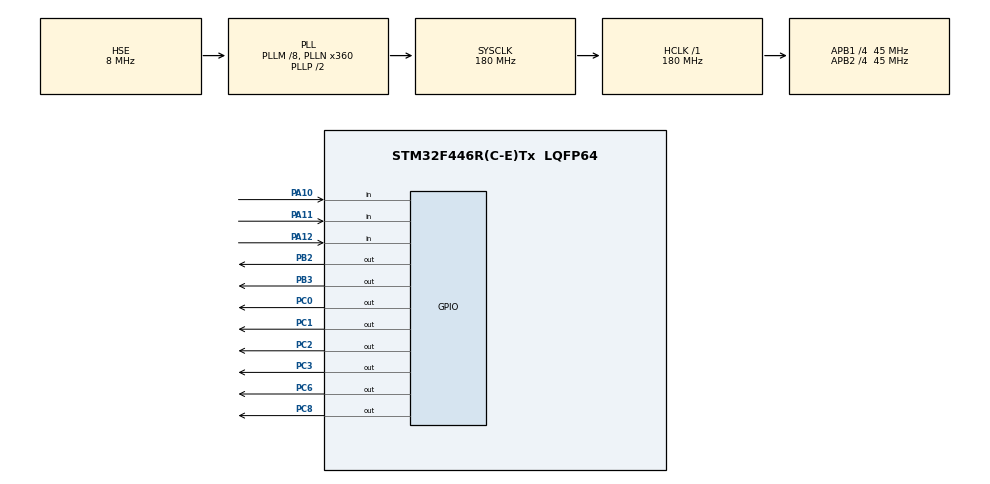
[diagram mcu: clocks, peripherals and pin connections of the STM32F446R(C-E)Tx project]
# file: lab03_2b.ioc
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FREERTOS.Tasks01=runningLED,24,128,runningLEDThread,Default,NULL,Dynamic,NULL,NULL;keypad,8,128,keypadThread,Default,NULL,Dynamic,NULL,NULL
FREERTOS.configUSE_NEWLIB_REENTRANT=1
Mcu.Family=STM32F4
Mcu.Name=STM32F446R(C-E)Tx
Mcu.Package=LQFP64
NVIC.PriorityGroup=NVIC_PRIORITYGROUP_4
NVIC.TIM7_IRQn=true\:15\:0\:false\:false\:true\:false\:false\:true\:true
NVIC.TimeBase=TIM7_IRQn
NVIC.TimeBaseIP=TIM7
PA10.GPIO_PuPd=GPIO_PULLUP
PA10.Signal=GPIO_Input
PA11.GPIO_PuPd=GPIO_PULLUP
PA11.Signal=GPIO_Input
PA12.GPIO_PuPd=GPIO_PULLUP
PA12.Signal=GPIO_Input
PA13.Mode=Serial_Wire
PA13.Signal=SYS_JTMS-SWDIO
PA14.Mode=Serial_Wire
PA14.Signal=SYS_JTCK-SWCLK
PB2.Signal=GPIO_Output
PB3.Signal=GPIO_Output
PC0.Signal=GPIO_Output
PC1.Signal=GPIO_Output
PC2.Signal=GPIO_Output
PC3.Signal=GPIO_Output
PC6.Signal=GPIO_Output
PC8.Signal=GPIO_Output
PH0-OSC_IN.Mode=HSE-External-Oscillator
PH0-OSC_IN.Signal=RCC_OSC_IN
PH1-OSC_OUT.Mode=HSE-External-Oscillator
PH1-OSC_OUT.Signal=RCC_OSC_OUT
ProjectManager.HeapSize=0x200
ProjectManager.StackSize=0x400
ProjectManager.TargetToolchain=STM32CubeIDE
RCC.AHBFreq_Value=180000000
RCC.APB1CLKDivider=RCC_HCLK_DIV4
RCC.APB1Freq_Value=45000000
RCC.APB1TimFreq_Value=90000000
RCC.APB2CLKDivider=RCC_HCLK_DIV4
RCC.APB2Freq_Value=45000000
RCC.APB2TimFreq_Value=90000000
RCC.CortexFreq_Value=180000000
RCC.HCLKFreq_Value=180000000
RCC.HSE_VALUE=8000000
RCC.PLLM=8
RCC.PLLN=360
RCC.PLLSourceVirtual=RCC_PLLSOURCE_HSE
RCC.SYSCLKFreq_VALUE=180000000
RCC.SYSCLKSource=RCC_SYSCLKSOURCE_PLLCLK
RCC.USBFreq_Value=180000000
RCC.VCOOutputFreq_Value=360000000
VP_FREERTOS_VS_CMSIS_V2.Mode=CMSIS_V2
VP_SYS_VS_tim7.Mode=TIM7
board=custom

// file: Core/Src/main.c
/* USER CODE BEGIN Header */
/**
  ******************************************************************************
  * @file           : main.c
  * @brief          : Main program body
  ******************************************************************************
  * @attention
  *
  * Copyright (c) 2026 STMicroelectronics.
  * All rights reserved.
  *
  * This software is licensed under terms that can be found in the LICENSE file
  * in the root directory of this software component.
  * If no LICENSE file comes with this software, it is provided AS-IS.
  *
  ******************************************************************************
  */
/* USER CODE END Header */
#include "main.h"
#include "cmsis_os.h"

/* Definitions for runningLED */
osThreadId_t runningLEDHandle;
const osThreadAttr_t runningLED_attributes = {
  .name = "runningLED",
  .stack_size = 128 * 4,
  .priority = (osPriority_t) osPriorityNormal,
};
/* Definitions for keypad */
osThreadId_t keypadHandle;
const osThreadAttr_t keypad_attributes = {
  .name = "keypad",
  .stack_size = 128 * 4,
  .priority = (osPriority_t) osPriorityLow,
};
/* USER CODE BEGIN PV */
GPIO_TypeDef *ledPort[4] = {GPIOB,GPIOC,GPIOC,GPIOB};
int ledGPIO[4] = {GPIO_PIN_2,GPIO_PIN_6,GPIO_PIN_8,GPIO_PIN_3};
int runningSpeed = 5;
int pattern[4][4] = {{1,0,0,0},{0,1,0,0},{0,0,1,0},{0,0,0,1}};

// Keypad
int keyColumn[3] = {GPIO_PIN_10,GPIO_PIN_11,GPIO_PIN_12};
int keyRow[4] = {GPIO_PIN_0,GPIO_PIN_1,GPIO_PIN_2,GPIO_PIN_3};
int keyMap[4][3]={{1,2,3},{4,5,6},{7,8,9},{11,10,12}};
/* USER CODE END PV */

void SystemClock_Config(void);
static void MX_GPIO_Init(void);
void runningLEDThread(void *argument);
void keypadThread(void *argument);

/* USER CODE BEGIN PFP */
int getch();
/* USER CODE END PFP */

int main(void)
{

  /* MCU Configuration--------------------------------------------------------*/

  /* Reset of all peripherals, Initializes the Flash interface and the Systick. */
  HAL_Init();

  /* Configure the system clock */
  SystemClock_Config();

  /* Initialize all configured peripherals */
  MX_GPIO_Init();

  /* Init scheduler */
  osKernelInitialize();

  /* Create the thread(s) */
  /* creation of runningLED */
  runningLEDHandle = osThreadNew(runningLEDThread, NULL, &runningLED_attributes);

  /* creation of keypad */
  keypadHandle = osThreadNew(keypadThread, NULL, &keypad_attributes);

  /* Start scheduler */
  osKernelStart();

  /* We should never get here as control is now taken by the scheduler */

  /* Infinite loop */
  while (1)
  {

  }
}

void SystemClock_Config(void)
{
  RCC_OscInitTypeDef RCC_OscInitStruct = {0};
  RCC_ClkInitTypeDef RCC_ClkInitStruct = {0};

  /** Configure the main internal regulator output voltage
  */
  __HAL_RCC_PWR_CLK_ENABLE();
  __HAL_PWR_VOLTAGESCALING_CONFIG(PWR_REGULATOR_VOLTAGE_SCALE1);

  /** Initializes the RCC Oscillators according to the specified parameters
  * in the RCC_OscInitTypeDef structure.
  */
  RCC_OscInitStruct.OscillatorType = RCC_OSCILLATORTYPE_HSE;
  RCC_OscInitStruct.HSEState = RCC_HSE_ON;
  RCC_OscInitStruct.PLL.PLLState = RCC_PLL_ON;
  RCC_OscInitStruct.PLL.PLLSource = RCC_PLLSOURCE_HSE;
  RCC_OscInitStruct.PLL.PLLM = 8;
  RCC_OscInitStruct.PLL.PLLN = 360;
  RCC_OscInitStruct.PLL.PLLP = RCC_PLLP_DIV2;
  RCC_OscInitStruct.PLL.PLLQ = 2;
  RCC_OscInitStruct.PLL.PLLR = 2;
  if (HAL_RCC_OscConfig(&RCC_OscInitStruct) != HAL_OK)
  {
    Error_Handler();
  }

  /** Activate the Over-Drive mode
  */
  if (HAL_PWREx_EnableOverDrive() != HAL_OK)
  {
    Error_Handler();
  }

  /** Initializes the CPU, AHB and APB buses clocks
  */
  RCC_ClkInitStruct.ClockType = RCC_CLOCKTYPE_HCLK|RCC_CLOCKTYPE_SYSCLK
                              |RCC_CLOCKTYPE_PCLK1|RCC_CLOCKTYPE_PCLK2;
  RCC_ClkInitStruct.SYSCLKSource = RCC_SYSCLKSOURCE_PLLCLK;
  RCC_ClkInitStruct.AHBCLKDivider = RCC_SYSCLK_DIV1;
  RCC_ClkInitStruct.APB1CLKDivider = RCC_HCLK_DIV4;
  RCC_ClkInitStruct.APB2CLKDivider = RCC_HCLK_DIV4;

  if (HAL_RCC_ClockConfig(&RCC_ClkInitStruct, FLASH_LATENCY_5) != HAL_OK)
  {
    Error_Handler();
  }
}

static void MX_GPIO_Init(void)
{
  GPIO_InitTypeDef GPIO_InitStruct = {0};

  /* GPIO Ports Clock Enable */
  __HAL_RCC_GPIOH_CLK_ENABLE();
  __HAL_RCC_GPIOC_CLK_ENABLE();
  __HAL_RCC_GPIOB_CLK_ENABLE();
  __HAL_RCC_GPIOA_CLK_ENABLE();

  /*Configure GPIO pin Output Level */
  HAL_GPIO_WritePin(GPIOC, GPIO_PIN_0|GPIO_PIN_1|GPIO_PIN_2|GPIO_PIN_3
                          |GPIO_PIN_6|GPIO_PIN_8, GPIO_PIN_RESET);

  /*Configure GPIO pin Output Level */
  HAL_GPIO_WritePin(GPIOB, GPIO_PIN_2|GPIO_PIN_3, GPIO_PIN_RESET);

  /*Configure GPIO pins : PC0 PC1 PC2 PC3
                           PC6 PC8 */
  GPIO_InitStruct.Pin = GPIO_PIN_0|GPIO_PIN_1|GPIO_PIN_2|GPIO_PIN_3
                          |GPIO_PIN_6|GPIO_PIN_8;
  GPIO_InitStruct.Mode = GPIO_MODE_OUTPUT_PP;
  GPIO_InitStruct.Pull = GPIO_NOPULL;
  GPIO_InitStruct.Speed = GPIO_SPEED_FREQ_LOW;
  HAL_GPIO_Init(GPIOC, &GPIO_InitStruct);

  /*Configure GPIO pins : PB2 PB3 */
  GPIO_InitStruct.Pin = GPIO_PIN_2|GPIO_PIN_3;
  GPIO_InitStruct.Mode = GPIO_MODE_OUTPUT_PP;
  GPIO_InitStruct.Pull = GPIO_NOPULL;
  GPIO_InitStruct.Speed = GPIO_SPEED_FREQ_LOW;
  HAL_GPIO_Init(GPIOB, &GPIO_InitStruct);

  /*Configure GPIO pins : PA10 PA11 PA12 */
  GPIO_InitStruct.Pin = GPIO_PIN_10|GPIO_PIN_11|GPIO_PIN_12;
  GPIO_InitStruct.Mode = GPIO_MODE_INPUT;
  GPIO_InitStruct.Pull = GPIO_PULLUP;
  HAL_GPIO_Init(GPIOA, &GPIO_InitStruct);

}

/* USER CODE BEGIN 4 */
int getch(){
	int row,col;

	for(row=0;row<4;row++){
		HAL_GPIO_WritePin(GPIOC,keyRow[row],0);
		for(col=0;col<3;col++){
			if(HAL_GPIO_ReadPin(GPIOA,keyColumn[col])==0) break;
		}
		if(col<3)break; // key pressing detected
		HAL_GPIO_WritePin(GPIOC,keyRow[row],1);
	}
	if(row<4){
		while(HAL_GPIO_ReadPin(GPIOA,keyColumn[col])==0)  HAL_Delay(100);
		HAL_GPIO_WritePin(GPIOC,keyRow[row],1);
		return keyMap[row][col];
	}
	return -1;   //No key pressed
}
/* USER CODE END 4 */

void runningLEDThread(void *argument)
{
  /* USER CODE BEGIN 5 */
	int i,j;
  /* Infinite loop */
  for(;;)
  {
	  for(i=0;i<4;i++){
		  for(j=0;j<4;j++){
			  HAL_GPIO_WritePin(ledPort[j],ledGPIO[j],pattern[j][i]);
		  }
		  osDelay(runningSpeed*10);
	  }
  }
  /* USER CODE END 5 */
}

void keypadThread(void *argument)
{
  /* USER CODE BEGIN keypadThread */
	int key;
  /* Infinite loop */
  for(;;)
  {
    key = getch();
    if(key>0){
    	runningSpeed = key;
    }else osDelay(50);
  }
  /* USER CODE END keypadThread */
}

void HAL_TIM_PeriodElapsedCallback(TIM_HandleTypeDef *htim)
{
  if (htim->Instance == TIM7)
  {
    HAL_IncTick();
  }
}

void Error_Handler(void)
{
  __disable_irq();
  while (1)
  {
  }
}
